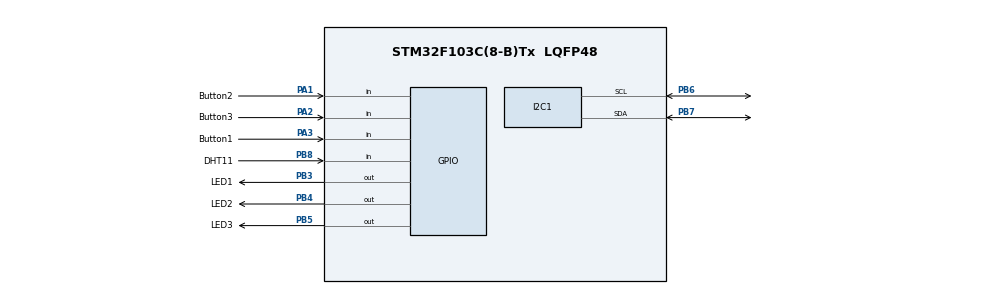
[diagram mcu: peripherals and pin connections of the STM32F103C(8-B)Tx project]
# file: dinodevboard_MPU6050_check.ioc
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Mcu.Family=STM32F1
Mcu.Name=STM32F103C(8-B)Tx
Mcu.Package=LQFP48
NVIC.PriorityGroup=NVIC_PRIORITYGROUP_4
PA1.GPIO_Label=Button2
PA1.GPIO_PuPd=GPIO_PULLUP
PA1.Signal=GPIO_Input
PA13.Mode=Serial_Wire
PA13.Signal=SYS_JTMS-SWDIO
PA14.Mode=Serial_Wire
PA14.Signal=SYS_JTCK-SWCLK
PA2.GPIO_Label=Button3
PA2.GPIO_PuPd=GPIO_PULLUP
PA2.Signal=GPIO_Input
PA3.GPIO_Label=Button1
PA3.GPIO_PuPd=GPIO_PULLUP
PA3.Signal=GPIO_Input
PB3.GPIO_Label=LED1
PB3.PinState=GPIO_PIN_RESET
PB3.Signal=GPIO_Output
PB4.GPIO_Label=LED2
PB4.Signal=GPIO_Output
PB5.GPIO_Label=LED3
PB5.Signal=GPIO_Output
PB6.Mode=I2C
PB6.Signal=I2C1_SCL
PB7.Mode=I2C
PB7.Signal=I2C1_SDA
PB8.GPIO_Label=DHT11
PB8.Signal=GPIO_Input
ProjectManager.HeapSize=0x200
ProjectManager.StackSize=0x400
ProjectManager.TargetToolchain=STM32CubeIDE
RCC.APB1Freq_Value=8000000
RCC.APB2Freq_Value=8000000
board=custom

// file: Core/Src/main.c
/* USER CODE BEGIN Header */
/**
 ******************************************************************************
 * @file           : main.c
 * @brief          : Main program body
 ******************************************************************************
 * @attention
 *
 * Copyright (c) 2023 STMicroelectronics.
 * All rights reserved.
 *
 * This software is licensed under terms that can be found in the LICENSE file
 * in the root directory of this software component.
 * If no LICENSE file comes with this software, it is provided AS-IS.
 *
 ******************************************************************************
 */
/* USER CODE END Header */
#include "main.h"

/* USER CODE BEGIN Includes */
#include"ssd1306.h"
#include<stdio.h>
/* USER CODE END Includes */

I2C_HandleTypeDef hi2c1;

void SystemClock_Config(void);
static void MX_GPIO_Init(void);
static void MX_I2C1_Init(void);

/* USER CODE BEGIN 0 */

#define MPU6050_ADDR 0xD0

#define SMPLRT_DIV_REG 0x19
#define GYRO_CONFIG_REG 0x1B
#define ACCEL_CONFIG_REG 0x1C
#define ACCEL_XOUT_H_REG 0x3B
#define TEMP_OUT_H_REG 0x41
#define GYRO_XOUT_H_REG 0x43
#define PWR_MGMT_1_REG 0x6B
#define WHO_AM_I_REG 0x75

int16_t Accel_X_RAW = 0;
int16_t Accel_Y_RAW = 0;
int16_t Accel_Z_RAW = 0;

int16_t Gyro_X_RAW = 0;
int16_t Gyro_Y_RAW = 0;
int16_t Gyro_Z_RAW = 0;

float Ax, Ay, Az, Gx, Gy, Gz;

void MPU6050_Init(void)
{
	uint8_t check;
	uint8_t Data;

	// check device ID WHO_AM_I

	HAL_I2C_Mem_Read(&hi2c1, MPU6050_ADDR, WHO_AM_I_REG, 1, &check, 1, 1000);

	if (check == 104) // 0x68 will be returned by the sensor if everything goes well
	{
		// power management register 0X6B we should write all 0's to wake the sensor up
		Data = 0;
		HAL_I2C_Mem_Write(&hi2c1, MPU6050_ADDR, PWR_MGMT_1_REG, 1, &Data, 1,
				1000);

		// Set DATA RATE of 1KHz by writing SMPLRT_DIV register
		Data = 0x07;
		HAL_I2C_Mem_Write(&hi2c1, MPU6050_ADDR, SMPLRT_DIV_REG, 1, &Data, 1,
				1000);

		// Set accelerometer configuration in ACCEL_CONFIG Register
		// XA_ST=0,YA_ST=0,ZA_ST=0, FS_SEL=0 -> ± 2g
		Data = 0x00;
		HAL_I2C_Mem_Write(&hi2c1, MPU6050_ADDR, ACCEL_CONFIG_REG, 1, &Data, 1,
				1000);

		// Set Gyroscopic configuration in GYRO_CONFIG Register
		// XG_ST=0,YG_ST=0,ZG_ST=0, FS_SEL=0 -> ± 250 °/s
		Data = 0x00;
		HAL_I2C_Mem_Write(&hi2c1, MPU6050_ADDR, GYRO_CONFIG_REG, 1, &Data, 1,
				1000);
	}

}

void MPU6050_Read_Accel(void)
{
	uint8_t Rec_Data[6];

	// Read 6 BYTES of data starting from ACCEL_XOUT_H register

	HAL_I2C_Mem_Read(&hi2c1, MPU6050_ADDR, ACCEL_XOUT_H_REG, 1, Rec_Data, 6,
			1000);

	Accel_X_RAW = (int16_t) (Rec_Data[0] << 8 | Rec_Data[1]);
	Accel_Y_RAW = (int16_t) (Rec_Data[2] << 8 | Rec_Data[3]);
	Accel_Z_RAW = (int16_t) (Rec_Data[4] << 8 | Rec_Data[5]);

	/*** convert the RAW values into acceleration in 'g'
	 we have to divide according to the Full scale value set in FS_SEL
	 I have configured FS_SEL = 0. So I am dividing by 16384.0
	 for more details check ACCEL_CONFIG Register              ****/

	Ax = Accel_X_RAW / 16384.0;
	Ay = Accel_Y_RAW / 16384.0;
	Az = Accel_Z_RAW / 16384.0;
}

void MPU6050_Read_Gyro(void)
{
	uint8_t Rec_Data[6];

	// Read 6 BYTES of data starting from GYRO_XOUT_H register

	HAL_I2C_Mem_Read(&hi2c1, MPU6050_ADDR, GYRO_XOUT_H_REG, 1, Rec_Data, 6,
			1000);

	Gyro_X_RAW = (int16_t) (Rec_Data[0] << 8 | Rec_Data[1]);
	Gyro_Y_RAW = (int16_t) (Rec_Data[2] << 8 | Rec_Data[3]);
	Gyro_Z_RAW = (int16_t) (Rec_Data[4] << 8 | Rec_Data[5]);

	/*** convert the RAW values into dps (°/s)
	 we have to divide according to the Full scale value set in FS_SEL
	 I have configured FS_SEL = 0. So I am dividing by 131.0
	 for more details check GYRO_CONFIG Register              ****/

	Gx = Gyro_X_RAW / 131.0;
	Gy = Gyro_Y_RAW / 131.0;
	Gz = Gyro_Z_RAW / 131.0;
}

/* USER CODE END 0 */

int main(void)
{
	/* USER CODE BEGIN 1 */
	char buf[16];
	/* USER CODE END 1 */

	/* MCU Configuration--------------------------------------------------------*/

	/* Reset of all peripherals, Initializes the Flash interface and the Systick. */
	HAL_Init();

	/* Configure the system clock */
	SystemClock_Config();

	/* Initialize all configured peripherals */
	MX_GPIO_Init();
	MX_I2C1_Init();
	/* USER CODE BEGIN 2 */
	ssd1306_Init();
	MPU6050_Init();
	ssd1306_SetCursor(0, 0);
	ssd1306_WriteString("Initialized", Font_7x10, White);
	ssd1306_UpdateScreen();

	HAL_Delay(1000);  // wait for 1 sec

	/* USER CODE END 2 */

	/* Infinite loop */
	while (1)
	{

		/* USER CODE BEGIN 3 */
		// read the Accelerometer and Gyro values
		MPU6050_Read_Accel();
		MPU6050_Read_Gyro();

		// print the Acceleration and Gyro values on the LCD 20x4
		ssd1306_Fill(Black);
		ssd1306_SetCursor(0, 0);
		ssd1306_WriteString("Ax=", Font_7x10, White);
		sprintf(buf, "%.2f", Ax);
		ssd1306_WriteString(buf, Font_7x10, White);
		ssd1306_WriteString("g ", Font_7x10, White);

		ssd1306_SetCursor(0, 10);
		ssd1306_WriteString("Ay=", Font_7x10, White);
		sprintf(buf, "%.2f", Ay);
		ssd1306_WriteString(buf, Font_7x10, White);
		ssd1306_WriteString("g ", Font_7x10, White);

		ssd1306_SetCursor(0, 20);
		ssd1306_WriteString("Az=", Font_7x10, White);
		sprintf(buf, "%.2f", Az);
		ssd1306_WriteString(buf, Font_7x10, White);
		ssd1306_WriteString("g ", Font_7x10, White);

		ssd1306_SetCursor(0, 30);
		ssd1306_WriteString("Gx=", Font_7x10, White);
		sprintf(buf, "%.2f", Gx);
		ssd1306_WriteString(buf, Font_7x10, White);

		ssd1306_SetCursor(0, 40);
		ssd1306_WriteString("Gy=", Font_7x10, White);
		sprintf(buf, "%.2f", Gy);
		ssd1306_WriteString(buf, Font_7x10, White);

		ssd1306_SetCursor(0, 50);
		ssd1306_WriteString("Gz=", Font_7x10, White);
		sprintf(buf, "%.2f", Gz);
		ssd1306_WriteString(buf, Font_7x10, White);
		ssd1306_UpdateScreen();
		HAL_Delay(250);  // wait for a while
	}
	/* USER CODE END 3 */
}

void SystemClock_Config(void)
{
	RCC_OscInitTypeDef RCC_OscInitStruct =
	{ 0 };
	RCC_ClkInitTypeDef RCC_ClkInitStruct =
	{ 0 };

	/** Initializes the RCC Oscillators according to the specified parameters
	 * in the RCC_OscInitTypeDef structure.
	 */
	RCC_OscInitStruct.OscillatorType = RCC_OSCILLATORTYPE_HSI;
	RCC_OscInitStruct.HSIState = RCC_HSI_ON;
	RCC_OscInitStruct.HSICalibrationValue = RCC_HSICALIBRATION_DEFAULT;
	RCC_OscInitStruct.PLL.PLLState = RCC_PLL_NONE;
	if (HAL_RCC_OscConfig(&RCC_OscInitStruct) != HAL_OK)
	{
		Error_Handler();
	}

	/** Initializes the CPU, AHB and APB buses clocks
	 */
	RCC_ClkInitStruct.ClockType = RCC_CLOCKTYPE_HCLK | RCC_CLOCKTYPE_SYSCLK
			| RCC_CLOCKTYPE_PCLK1 | RCC_CLOCKTYPE_PCLK2;
	RCC_ClkInitStruct.SYSCLKSource = RCC_SYSCLKSOURCE_HSI;
	RCC_ClkInitStruct.AHBCLKDivider = RCC_SYSCLK_DIV1;
	RCC_ClkInitStruct.APB1CLKDivider = RCC_HCLK_DIV1;
	RCC_ClkInitStruct.APB2CLKDivider = RCC_HCLK_DIV1;

	if (HAL_RCC_ClockConfig(&RCC_ClkInitStruct, FLASH_LATENCY_0) != HAL_OK)
	{
		Error_Handler();
	}
}

static void MX_I2C1_Init(void)
{

	hi2c1.Instance = I2C1;
	hi2c1.Init.ClockSpeed = 100000;
	hi2c1.Init.DutyCycle = I2C_DUTYCYCLE_2;
	hi2c1.Init.OwnAddress1 = 0;
	hi2c1.Init.AddressingMode = I2C_ADDRESSINGMODE_7BIT;
	hi2c1.Init.DualAddressMode = I2C_DUALADDRESS_DISABLE;
	hi2c1.Init.OwnAddress2 = 0;
	hi2c1.Init.GeneralCallMode = I2C_GENERALCALL_DISABLE;
	hi2c1.Init.NoStretchMode = I2C_NOSTRETCH_DISABLE;
	if (HAL_I2C_Init(&hi2c1) != HAL_OK)
	{
		Error_Handler();
	}

}

static void MX_GPIO_Init(void)
{
	GPIO_InitTypeDef GPIO_InitStruct =
	{ 0 };

	/* GPIO Ports Clock Enable */
	__HAL_RCC_GPIOA_CLK_ENABLE();
	__HAL_RCC_GPIOB_CLK_ENABLE();

	/*Configure GPIO pin Output Level */
	HAL_GPIO_WritePin(GPIOB, LED1_Pin | LED2_Pin | LED3_Pin, GPIO_PIN_RESET);

	/*Configure GPIO pins : Button2_Pin Button3_Pin Button1_Pin */
	GPIO_InitStruct.Pin = Button2_Pin | Button3_Pin | Button1_Pin;
	GPIO_InitStruct.Mode = GPIO_MODE_INPUT;
	GPIO_InitStruct.Pull = GPIO_PULLUP;
	HAL_GPIO_Init(GPIOA, &GPIO_InitStruct);

	/*Configure GPIO pins : LED1_Pin LED2_Pin LED3_Pin */
	GPIO_InitStruct.Pin = LED1_Pin | LED2_Pin | LED3_Pin;
	GPIO_InitStruct.Mode = GPIO_MODE_OUTPUT_PP;
	GPIO_InitStruct.Pull = GPIO_NOPULL;
	GPIO_InitStruct.Speed = GPIO_SPEED_FREQ_LOW;
	HAL_GPIO_Init(GPIOB, &GPIO_InitStruct);

	/*Configure GPIO pin : DHT11_Pin */
	GPIO_InitStruct.Pin = DHT11_Pin;
	GPIO_InitStruct.Mode = GPIO_MODE_INPUT;
	GPIO_InitStruct.Pull = GPIO_NOPULL;
	HAL_GPIO_Init(DHT11_GPIO_Port, &GPIO_InitStruct);

}

void Error_Handler(void)
{
	__disable_irq();
	while (1)
	{
	}
}
